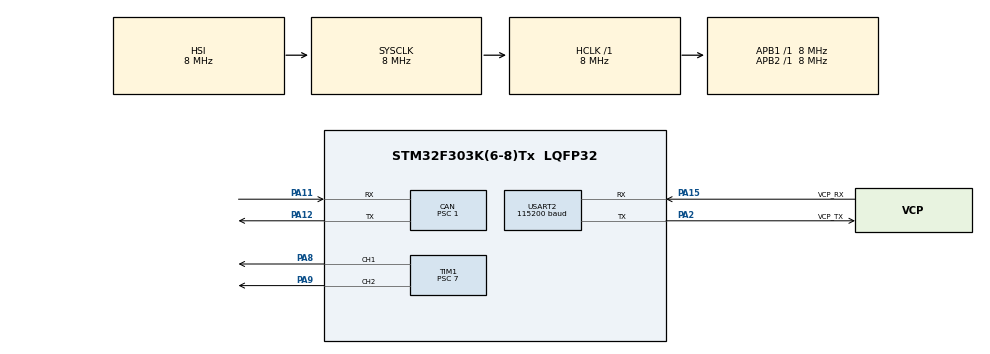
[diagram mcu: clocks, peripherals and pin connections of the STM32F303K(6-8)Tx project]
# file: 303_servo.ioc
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CAN.BS1=CAN_BS1_5TQ
CAN.BS2=CAN_BS2_2TQ
CAN.CalculateBaudRate=1000000
CAN.CalculateTimeBit=1000
CAN.CalculateTimeQuantum=125.0
CAN.Prescaler=1
CAN.SJW=CAN_SJW_1TQ
Mcu.Family=STM32F3
Mcu.Name=STM32F303K(6-8)Tx
Mcu.Package=LQFP32
NVIC.CAN_RX0_IRQn=true\:0\:0\:false\:false\:true\:true\:true\:true
NVIC.CAN_RX1_IRQn=true\:0\:0\:false\:false\:true\:true\:true\:true
NVIC.PriorityGroup=NVIC_PRIORITYGROUP_4
NVIC.USART2_IRQn=true\:0\:0\:false\:false\:true\:true\:true\:true
PA11.Mode=CAN_Activate
PA11.Signal=CAN_RX
PA12.Mode=CAN_Activate
PA12.Signal=CAN_TX
PA13.GPIO_Label=SWDIO
PA13.Mode=Serial_Wire
PA13.Signal=SYS_JTMS-SWDIO
PA14.GPIO_Label=SWCLK
PA14.Mode=Serial_Wire
PA14.Signal=SYS_JTCK-SWCLK
PA15.GPIO_Label=VCP_RX
PA15.Mode=Asynchronous
PA15.Signal=USART2_RX
PA2.GPIO_Label=VCP_TX
PA2.Mode=Asynchronous
PA2.Signal=USART2_TX
PA8.Signal=S_TIM1_CH1
PA9.Signal=S_TIM1_CH2
PF0\ /\ OSC_IN.GPIO_Label=MCO
PF0\ /\ OSC_IN.Mode=HSE-External-Clock-Source
PF0\ /\ OSC_IN.Signal=RCC_OSC_IN
ProjectManager.HeapSize=0x200
ProjectManager.StackSize=0x400
ProjectManager.TargetToolchain=STM32CubeIDE
RCC.AHBFreq_Value=8000000
RCC.APB1Freq_Value=8000000
RCC.APB2Freq_Value=8000000
RCC.CortexFreq_Value=8000000
RCC.HSE_VALUE=8000000
RCC.HSI_VALUE=8000000
RCC.SYSCLKFreq_VALUE=8000000
SH.S_TIM1_CH1.0=TIM1_CH1,PWM Generation1 CH1
SH.S_TIM1_CH2.0=TIM1_CH2,PWM Generation2 CH2
TIM1.Channel-PWM\ Generation1\ CH1=TIM_CHANNEL_1
TIM1.Channel-PWM\ Generation2\ CH2=TIM_CHANNEL_2
TIM1.Period=19999
TIM1.Prescaler=7
USART2.BaudRate=115200
USART2.VirtualMode-Asynchronous=VM_ASYNC
board=NUCLEO-F303K8

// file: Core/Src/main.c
/* USER CODE BEGIN Header */
/**
  ******************************************************************************
  * @file           : main.c
  * @brief          : Main program body
  ******************************************************************************
  * @attention
  *
  * Copyright (c) 2026 STMicroelectronics.
  * All rights reserved.
  *
  * This software is licensed under terms that can be found in the LICENSE file
  * in the root directory of this software component.
  * If no LICENSE file comes with this software, it is provided AS-IS.
  *
  ******************************************************************************
  */
/* USER CODE END Header */
#include "main.h"

/* USER CODE BEGIN Includes */
#include <stdio.h>
/* USER CODE END Includes */

/* USER CODE BEGIN PD */
#define CAN_ID 0x500
#define DEBUG_INTERVAL 100
/* USER CODE END PD */

CAN_HandleTypeDef hcan;

TIM_HandleTypeDef htim1;

UART_HandleTypeDef huart2;

/* USER CODE BEGIN PV */
uint8_t rxData[8];
uint8_t canFlag = 0;
int PWM90 = 1500;
int PWM92 = 1450;
uint32_t preDebugTick = 0;
/* USER CODE END PV */

void SystemClock_Config(void);
static void MX_GPIO_Init(void);
static void MX_USART2_UART_Init(void);
static void MX_TIM1_Init(void);
static void MX_CAN_Init(void);
/* USER CODE BEGIN PFP */
void Debug(void);
/* USER CODE END PFP */

/* USER CODE BEGIN 0 */
void Debug(void) {
    char buff[128];
    /* Transmit servo pulse width data over UART2 */
    int size = snprintf(buff, sizeof(buff), "SG90:%4d us | SG92r:%4d us\r\n", PWM90, PWM92);
    HAL_UART_Transmit_IT(&huart2, (uint8_t*)buff, size);
}

void HAL_CAN_RxFifo0MsgPendingCallback(CAN_HandleTypeDef *hcan) {
    CAN_RxHeaderTypeDef RxHeader;
    uint8_t RxData[8];
    if (HAL_CAN_GetRxMessage(hcan, CAN_RX_FIFO0, &RxHeader, RxData) == HAL_OK) {
        if (RxHeader.StdId == CAN_ID) {
            for (int i = 0; i < 4; i++) {
                rxData[i] = RxData[i];
            }
            HAL_GPIO_TogglePin(GPIOA, GPIO_PIN_5);
            canFlag = 1;
        }
    }
}
/* USER CODE END 0 */

int main(void)
{

  /* MCU Configuration--------------------------------------------------------*/

  /* Reset of all peripherals, Initializes the Flash interface and the Systick. */
  HAL_Init();

  /* Configure the system clock */
  SystemClock_Config();

  /* Initialize all configured peripherals */
  MX_GPIO_Init();
  MX_USART2_UART_Init();
  MX_TIM1_Init();
  MX_CAN_Init();
  /* USER CODE BEGIN 2 */
  HAL_CAN_Start(&hcan);
  HAL_CAN_ActivateNotification(&hcan, CAN_IT_RX_FIFO0_MSG_PENDING);
  HAL_TIM_PWM_Start(&htim1, TIM_CHANNEL_1);
  HAL_TIM_PWM_Start(&htim1, TIM_CHANNEL_2);
  //SG90-HV
  __HAL_TIM_SET_COMPARE(&htim1, TIM_CHANNEL_1, 1500); //1000 ~ 1500 ~ 2000
  //SG92r
  __HAL_TIM_SET_COMPARE(&htim1, TIM_CHANNEL_2, 1450); //500 ~ 1450 ~ 2400
  /* USER CODE END 2 */

  /* Infinite loop */
  /* USER CODE BEGIN WHILE */
  while (1){

	  if(canFlag){
		  canFlag = 0;
		  uint16_t raw_pwm_sg90 = ((uint16_t)rxData[2] << 8) | rxData[3];
		  uint16_t raw_pwm_sg92 = ((uint16_t)rxData[0] << 8) | rxData[1];

		  /* Fix: Clamp PWM value to safe range (500us to 2400us) to prevent servo gear damage */
		  if (raw_pwm_sg90 < 1000) raw_pwm_sg90 = 1000;
		  if (raw_pwm_sg90 > 2000) raw_pwm_sg90 = 2000;
		  if (raw_pwm_sg92 < 500)  raw_pwm_sg92 = 500;
		  if (raw_pwm_sg92 > 2400) raw_pwm_sg92 = 2400;

		  PWM90 = raw_pwm_sg90;
		  PWM92 = raw_pwm_sg92;
		  __HAL_TIM_SET_COMPARE(&htim1, TIM_CHANNEL_1, PWM90);
		  __HAL_TIM_SET_COMPARE(&htim1, TIM_CHANNEL_2, PWM92);
	  }

	  /* Periodic debug output every 100ms */
	  if (HAL_GetTick() - preDebugTick >= DEBUG_INTERVAL) {
		  preDebugTick = HAL_GetTick();
		  Debug();
	  }
    /* USER CODE END WHILE */

  }
}

void SystemClock_Config(void)
{
  RCC_OscInitTypeDef RCC_OscInitStruct = {0};
  RCC_ClkInitTypeDef RCC_ClkInitStruct = {0};
  RCC_PeriphCLKInitTypeDef PeriphClkInit = {0};

  /** Initializes the RCC Oscillators according to the specified parameters
  * in the RCC_OscInitTypeDef structure.
  */
  RCC_OscInitStruct.OscillatorType = RCC_OSCILLATORTYPE_HSI;
  RCC_OscInitStruct.HSIState = RCC_HSI_ON;
  RCC_OscInitStruct.HSICalibrationValue = RCC_HSICALIBRATION_DEFAULT;
  RCC_OscInitStruct.PLL.PLLState = RCC_PLL_NONE;
  if (HAL_RCC_OscConfig(&RCC_OscInitStruct) != HAL_OK)
  {
    Error_Handler();
  }

  /** Initializes the CPU, AHB and APB buses clocks
  */
  RCC_ClkInitStruct.ClockType = RCC_CLOCKTYPE_HCLK|RCC_CLOCKTYPE_SYSCLK
                              |RCC_CLOCKTYPE_PCLK1|RCC_CLOCKTYPE_PCLK2;
  RCC_ClkInitStruct.SYSCLKSource = RCC_SYSCLKSOURCE_HSI;
  RCC_ClkInitStruct.AHBCLKDivider = RCC_SYSCLK_DIV1;
  RCC_ClkInitStruct.APB1CLKDivider = RCC_HCLK_DIV1;
  RCC_ClkInitStruct.APB2CLKDivider = RCC_HCLK_DIV1;

  if (HAL_RCC_ClockConfig(&RCC_ClkInitStruct, FLASH_LATENCY_0) != HAL_OK)
  {
    Error_Handler();
  }
  PeriphClkInit.PeriphClockSelection = RCC_PERIPHCLK_TIM1;
  PeriphClkInit.Tim1ClockSelection = RCC_TIM1CLK_HCLK;
  if (HAL_RCCEx_PeriphCLKConfig(&PeriphClkInit) != HAL_OK)
  {
    Error_Handler();
  }
}

static void MX_CAN_Init(void)
{

  hcan.Instance = CAN;
  hcan.Init.Prescaler = 1;
  hcan.Init.Mode = CAN_MODE_NORMAL;
  hcan.Init.SyncJumpWidth = CAN_SJW_1TQ;
  hcan.Init.TimeSeg1 = CAN_BS1_5TQ;
  hcan.Init.TimeSeg2 = CAN_BS2_2TQ;
  hcan.Init.TimeTriggeredMode = DISABLE;
  hcan.Init.AutoBusOff = DISABLE;
  hcan.Init.AutoWakeUp = DISABLE;
  hcan.Init.AutoRetransmission = DISABLE;
  hcan.Init.ReceiveFifoLocked = DISABLE;
  hcan.Init.TransmitFifoPriority = DISABLE;
  if (HAL_CAN_Init(&hcan) != HAL_OK)
  {
    Error_Handler();
  }
  /* USER CODE BEGIN CAN_Init 2 */
  CAN_FilterTypeDef filter;
   filter.FilterIdHigh           = CAN_ID << 5;               // フィルターID上位16bit
   filter.FilterIdLow            = 0;                        // フィルターID下位16bit
   filter.FilterMaskIdHigh       = 0x7FF << 5;                   // フィルターマスクID上位16bit
   filter.FilterMaskIdLow        = 0;                        // フィルターマスクID下位16bit
   filter.FilterScale            = CAN_FILTERSCALE_32BIT;    // 32ビットモード
   filter.FilterFIFOAssignment   = CAN_FILTER_FIFO0;         // FIFO0へ格納
   filter.FilterBank	            = 0;
   filter.FilterMode             = CAN_FILTERMODE_IDMASK;    // IDマスクモード
   filter.SlaveStartFilterBank   = 14;
   filter.FilterActivation       = ENABLE;

   HAL_CAN_ConfigFilter(&hcan, &filter);
  /* USER CODE END CAN_Init 2 */

}

static void MX_TIM1_Init(void)
{

  TIM_MasterConfigTypeDef sMasterConfig = {0};
  TIM_OC_InitTypeDef sConfigOC = {0};
  TIM_BreakDeadTimeConfigTypeDef sBreakDeadTimeConfig = {0};

  htim1.Instance = TIM1;
  htim1.Init.Prescaler = 7;
  htim1.Init.CounterMode = TIM_COUNTERMODE_UP;
  htim1.Init.Period = 19999;
  htim1.Init.ClockDivision = TIM_CLOCKDIVISION_DIV1;
  htim1.Init.RepetitionCounter = 0;
  htim1.Init.AutoReloadPreload = TIM_AUTORELOAD_PRELOAD_DISABLE;
  if (HAL_TIM_PWM_Init(&htim1) != HAL_OK)
  {
    Error_Handler();
  }
  sMasterConfig.MasterOutputTrigger = TIM_TRGO_RESET;
  sMasterConfig.MasterOutputTrigger2 = TIM_TRGO2_RESET;
  sMasterConfig.MasterSlaveMode = TIM_MASTERSLAVEMODE_DISABLE;
  if (HAL_TIMEx_MasterConfigSynchronization(&htim1, &sMasterConfig) != HAL_OK)
  {
    Error_Handler();
  }
  sConfigOC.OCMode = TIM_OCMODE_PWM1;
  sConfigOC.Pulse = 0;
  sConfigOC.OCPolarity = TIM_OCPOLARITY_HIGH;
  sConfigOC.OCNPolarity = TIM_OCNPOLARITY_HIGH;
  sConfigOC.OCFastMode = TIM_OCFAST_DISABLE;
  sConfigOC.OCIdleState = TIM_OCIDLESTATE_RESET;
  sConfigOC.OCNIdleState = TIM_OCNIDLESTATE_RESET;
  if (HAL_TIM_PWM_ConfigChannel(&htim1, &sConfigOC, TIM_CHANNEL_1) != HAL_OK)
  {
    Error_Handler();
  }
  if (HAL_TIM_PWM_ConfigChannel(&htim1, &sConfigOC, TIM_CHANNEL_2) != HAL_OK)
  {
    Error_Handler();
  }
  sBreakDeadTimeConfig.OffStateRunMode = TIM_OSSR_DISABLE;
  sBreakDeadTimeConfig.OffStateIDLEMode = TIM_OSSI_DISABLE;
  sBreakDeadTimeConfig.LockLevel = TIM_LOCKLEVEL_OFF;
  sBreakDeadTimeConfig.DeadTime = 0;
  sBreakDeadTimeConfig.BreakState = TIM_BREAK_DISABLE;
  sBreakDeadTimeConfig.BreakPolarity = TIM_BREAKPOLARITY_HIGH;
  sBreakDeadTimeConfig.BreakFilter = 0;
  sBreakDeadTimeConfig.Break2State = TIM_BREAK2_DISABLE;
  sBreakDeadTimeConfig.Break2Polarity = TIM_BREAK2POLARITY_HIGH;
  sBreakDeadTimeConfig.Break2Filter = 0;
  sBreakDeadTimeConfig.AutomaticOutput = TIM_AUTOMATICOUTPUT_DISABLE;
  if (HAL_TIMEx_ConfigBreakDeadTime(&htim1, &sBreakDeadTimeConfig) != HAL_OK)
  {
    Error_Handler();
  }
  HAL_TIM_MspPostInit(&htim1);

}

static void MX_USART2_UART_Init(void)
{

  huart2.Instance = USART2;
  huart2.Init.BaudRate = 115200;
  huart2.Init.WordLength = UART_WORDLENGTH_8B;
  huart2.Init.StopBits = UART_STOPBITS_1;
  huart2.Init.Parity = UART_PARITY_NONE;
  huart2.Init.Mode = UART_MODE_TX_RX;
  huart2.Init.HwFlowCtl = UART_HWCONTROL_NONE;
  huart2.Init.OverSampling = UART_OVERSAMPLING_16;
  huart2.Init.OneBitSampling = UART_ONE_BIT_SAMPLE_DISABLE;
  huart2.AdvancedInit.AdvFeatureInit = UART_ADVFEATURE_NO_INIT;
  if (HAL_UART_Init(&huart2) != HAL_OK)
  {
    Error_Handler();
  }

}

static void MX_GPIO_Init(void)
{

  /* GPIO Ports Clock Enable */
  __HAL_RCC_GPIOF_CLK_ENABLE();
  __HAL_RCC_GPIOA_CLK_ENABLE();

}

void Error_Handler(void)
{
  __disable_irq();
  while (1)
  {
  }
}
